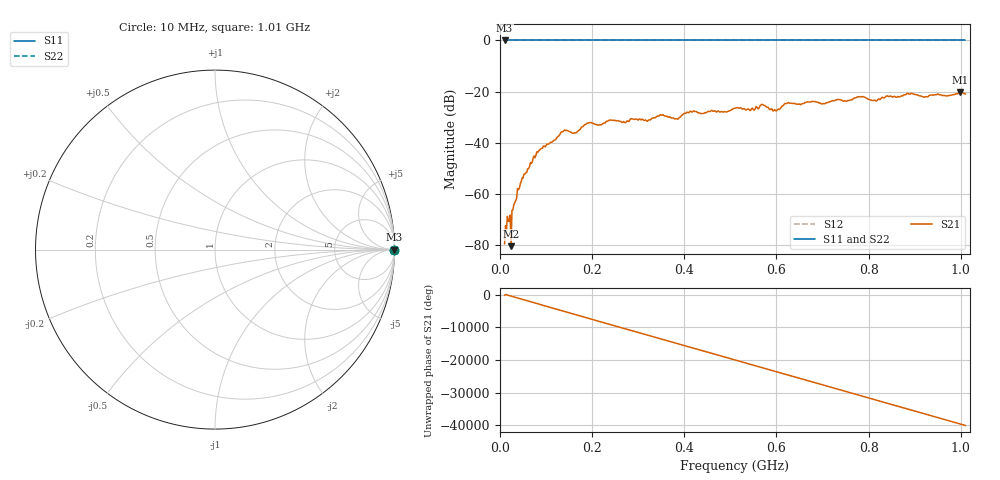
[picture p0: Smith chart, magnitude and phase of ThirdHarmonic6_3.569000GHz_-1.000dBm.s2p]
! 8/17/2025 11:49:30 AM
! C:\ANRITSUVNA\TEMP\TEMP.S2P
! CHANNEL.1
! TR.MEASUREMENT
! RAW.DATA
! RF.CORRECTION.OFF
! AVERAGING.OFF
! IF.BANDWIDTH: 5KHZ
! SWEEPTYPE:  FREQ.SWEEP(Linear)
! Reference Plane Port Info
! PORT:  PORT1  PORT2
! DISTANCE:  0  m  0  m
! TIME:  0  s  0  s
! PHASE.OFFSET:  0  deg.  0  deg.
! LOSS:  0  dB  0  dB
! REF.LOSS:  0  dB  0  dB
! REF.FREQ:  0  Hz  0  Hz
! Power Info
! POWER:  -20  dBm  -20  dBm
! EFF.POWER:  -20  dBm  -20  dBm
! SOURCE.ATTEN:  0  dB  0  dB
! TEST.ATTEN:  0  dB  0  dB
# GHZ S RI R 50.0
! FREQ.GHZ  S11RE  S11IM  S21RE  S21IM  S12RE  S12IM  S22RE  S22IM
!; PortSelection: Port_12
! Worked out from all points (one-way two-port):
!   501 points, 10 MHz to 1.01 GHz, reference 50 ohm
!   highest |S21| = -20.26 dB at 998 MHz (marker M1); lowest = -80.4 dB at 24 MHz (marker M2)
!   lowest |S11| = 0.0 dB at 10 MHz (marker M3)
!   |S11| at or under -10 dB: nowhere
!   |S22| runs from 0.0 to 0.0 dB; largest |S21 - S12| = 1.1
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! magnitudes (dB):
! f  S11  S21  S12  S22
! 10 MHz  0.0  -79.4  0.0  0.0
! 16 MHz  0.0  -68.7  0.0  0.0
! 24 MHz  0.0  -80.4  0.0  0.0
! 28 MHz  0.0  -66.2  0.0  0.0
! 30 MHz  0.0  -64.1  0.0  0.0
! 48 MHz  0.0  -53.8  0.0  0.0
! 84 MHz  0.0  -43.1  0.0  0.0
! 136 MHz  0.0  -35.7  0.0  0.0
! 162 MHz  0.0  -36.0  0.0  0.0
! 178 MHz  0.0  -33.7  0.0  0.0
! 344 MHz  0.0  -29.6  0.0  0.0
! 382 MHz  0.0  -30.7  0.0  0.0
! 416 MHz  0.0  -28.0  0.0  0.0
! 510 MHz  0.0  -26.5  0.0  0.0
! 570 MHz  0.0  -25.0  0.0  0.0
! 596 MHz  0.0  -27.0  0.0  0.0
! 622 MHz  0.0  -24.7  0.0  0.0
! 678 MHz  0.0  -23.9  0.0  0.0
! 814 MHz  0.0  -23.4  0.0  0.0
! 844 MHz  0.0  -21.9  0.0  0.0
! 998 MHz  0.0  -20.3  0.0  0.0
! 1.01 GHz  0.0  -20.9  0.0  0.0
